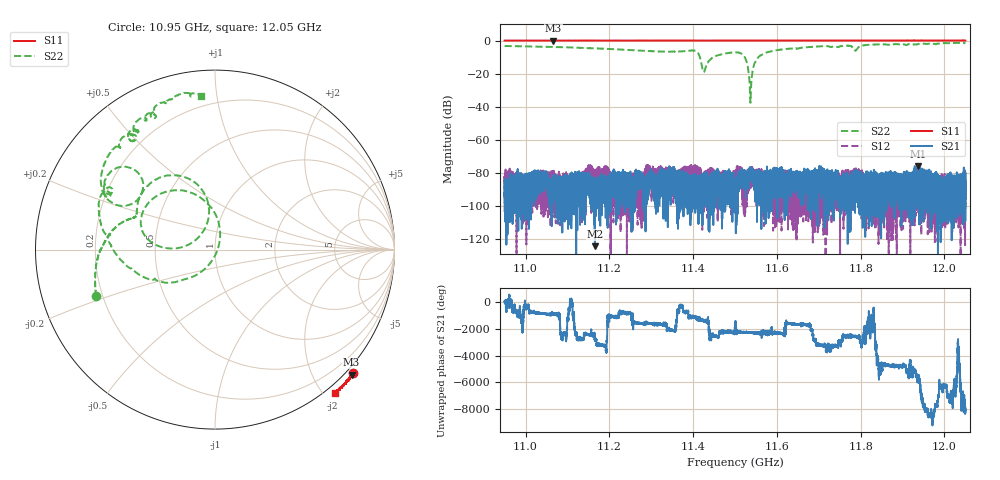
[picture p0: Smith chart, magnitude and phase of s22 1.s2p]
!Agilent Technologies,E8362C,MY49020356,A.09.42.23
!Agilent E8362C: A.09.42.23
!Date: Saturday, September 11, 2021 04:11:15
!Correction: S11(Full 2 Port(1,2))
!S21(Full 2 Port(1,2))
!S12(Full 2 Port(1,2))
!S22(Full 2 Port(1,2))
!S2P File: Measurements: S11, S21, S12, S22:
# Hz S  MA  R 50
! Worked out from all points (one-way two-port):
!   32001 points, 10.95 GHz to 12.05 GHz, reference 50 ohm
!   highest |S21| = -75.86 dB at 11.94 GHz (marker M1); lowest = -124.6 dB at 11.17 GHz (marker M2)
!   lowest |S11| = 0.3 dB at 11.07 GHz (marker M3)
!   |S11| at or under -10 dB: nowhere
!   |S22| runs from -37.5 to -1.0 dB; largest |S21 - S12| = 0.00022
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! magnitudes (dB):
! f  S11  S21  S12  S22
! 10.95 GHz  0.3  -92.5  -82.3  -3.0
! 11.07 GHz  0.3  -83.2  -88.1  -3.6
! 11.13 GHz  0.3  -81.3  -88.9  -4.1
! 11.17 GHz  0.3  -124.6  -81.6  -4.4
! 11.32 GHz  0.3  -89.1  -79.6  -6.3
! 11.41 GHz  0.3  -104.4  -80.4  -5.9
! 11.41 GHz  0.3  -87.1  -89.2  -7.7
! 11.43 GHz  0.3  -92.8  -92.3  -18.6
! 11.45 GHz  0.3  -92.1  -83.8  -9.7
! 11.5 GHz  0.4  -84.4  -85.9  -6.9
! 11.52 GHz  0.4  -86.4  -84.7  -9.6
! 11.53 GHz  0.3  -83.3  -82.1  -13.3
! 11.53 GHz  0.3  -81.7  -88.4  -21.6
! 11.54 GHz  0.3  -79.8  -81.5  -35.1
! 11.55 GHz  0.3  -89.8  -83.4  -12.6
! 11.56 GHz  0.3  -86.2  -90.6  -8.3
! 11.68 GHz  0.3  -88.0  -100.3  -3.5
! 11.77 GHz  0.3  -87.3  -86.1  -2.8
! 11.79 GHz  0.3  -88.9  -82.2  -5.8
! 11.87 GHz  0.4  -90.0  -95.2  -2.2
! 11.94 GHz  0.4  -75.9  -101.8  -1.8
! 12.05 GHz  0.4  -85.6  -90.4  -1.4
